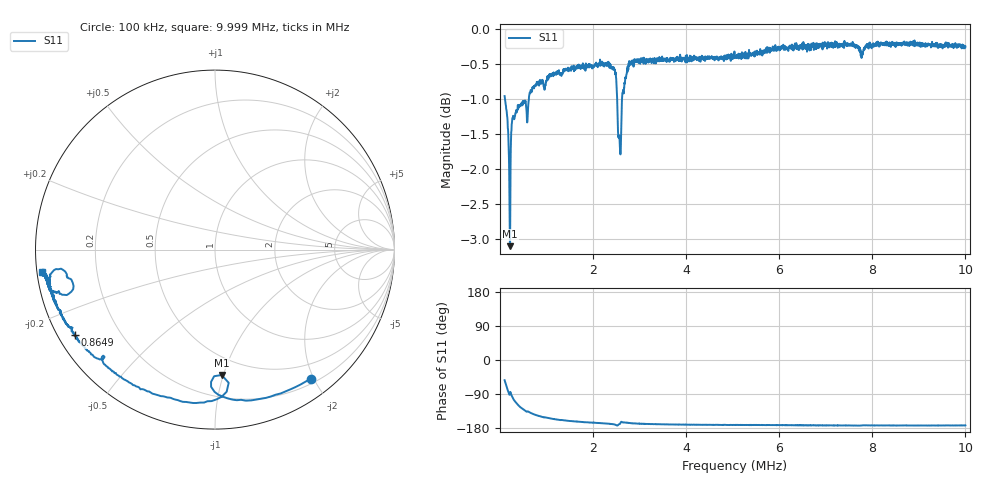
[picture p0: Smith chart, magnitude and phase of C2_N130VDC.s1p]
# HZ S RI R 50
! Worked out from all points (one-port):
!   2020 points, 100 kHz to 9.999 MHz, reference 50 ohm
!   lowest |S11| = -3.1 dB at 217.7 kHz (marker M1), VSWR 5.66, Z = 18 - j49.4 ohm
!   |S11| at or under -10 dB: nowhere
!   S11 on the Smith chart (normalised r, x): 100 kHz: 0.27, -1.96; 864.9 kHz: 0.05, -0.28; 9.999 MHz: 0.01, -0.06
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100000  0.5342 -0.7185
129418  0.3651 -0.8018
168642  0.1453 -0.8369
217672  0.037 -0.6987
281411  -0.1783 -0.8483
335344  -0.3127 -0.8126
389277  -0.4222 -0.7685
457919  -0.5236 -0.7091
551076  -0.6211 -0.6339
688360  -0.7017 -0.5667
864868  -0.782 -0.4762
1114921  -0.8398 -0.3912
1340459  -0.8653 -0.3406
1732699  -0.8964 -0.2693
2419119  -0.9222 -0.1745
2468149  -0.9221 -0.1547
2517179  -0.8858 -0.1084
2541694  -0.83 -0.1296
2576015  -0.8081 -0.1623
2649560  -0.8701 -0.2321
2811359  -0.9189 -0.2168
3154569  -0.929 -0.1861
3816474  -0.941 -0.1633
5052030  -0.9456 -0.1419
6287586  -0.9606 -0.1319
7528045  -0.9666 -0.1243
8763601  -0.9661 -0.1203
9999157  -0.963 -0.1251
